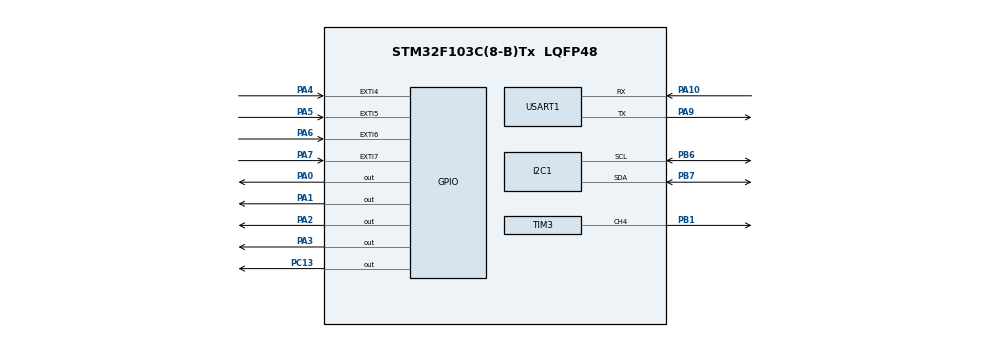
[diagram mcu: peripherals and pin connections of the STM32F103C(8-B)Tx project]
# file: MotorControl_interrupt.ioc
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Mcu.Family=STM32F1
Mcu.Name=STM32F103C(8-B)Tx
Mcu.Package=LQFP48
NVIC.EXTI4_IRQn=true\:0\:0\:false\:false\:true\:true\:true\:true
NVIC.EXTI9_5_IRQn=true\:0\:0\:false\:false\:true\:true\:true\:true
NVIC.PriorityGroup=NVIC_PRIORITYGROUP_4
NVIC.TIM4_IRQn=true\:15\:0\:false\:false\:true\:false\:true\:true
NVIC.TimeBase=TIM4_IRQn
NVIC.TimeBaseIP=TIM4
PA0-WKUP.Signal=GPIO_Output
PA1.Signal=GPIO_Output
PA10.Mode=Asynchronous
PA10.Signal=USART1_RX
PA2.Signal=GPIO_Output
PA3.Signal=GPIO_Output
PA4.GPIO_ModeDefaultEXTI=GPIO_MODE_IT_FALLING
PA4.GPIO_PuPd=GPIO_PULLUP
PA4.Signal=GPXTI4
PA5.GPIO_ModeDefaultEXTI=GPIO_MODE_IT_FALLING
PA5.GPIO_PuPd=GPIO_PULLUP
PA5.Signal=GPXTI5
PA6.GPIO_ModeDefaultEXTI=GPIO_MODE_IT_FALLING
PA6.GPIO_PuPd=GPIO_PULLUP
PA6.Signal=GPXTI6
PA7.GPIO_ModeDefaultEXTI=GPIO_MODE_IT_FALLING
PA7.GPIO_PuPd=GPIO_PULLUP
PA7.Signal=GPXTI7
PA9.Mode=Asynchronous
PA9.Signal=USART1_TX
PB1.Signal=S_TIM3_CH4
PB6.Mode=I2C
PB6.Signal=I2C1_SCL
PB7.Mode=I2C
PB7.Signal=I2C1_SDA
PC13-TAMPER-RTC.Signal=GPIO_Output
ProjectManager.HeapSize=0x200
ProjectManager.StackSize=0x400
ProjectManager.TargetToolchain=STM32CubeIDE
RCC.APB1Freq_Value=8000000
RCC.APB2Freq_Value=8000000
SH.S_TIM3_CH4.0=TIM3_CH4,PWM Generation4 CH4
TIM3.Channel-PWM\ Generation4\ CH4=TIM_CHANNEL_4
TIM3.Period=100-1
TIM3.Prescaler=8-1
USART1.VirtualMode=VM_ASYNC
VP_SYS_VS_ND.Mode=No_Debug
VP_SYS_VS_tim4.Mode=TIM4
VP_TIM3_VS_ClockSourceINT.Mode=Internal
board=custom

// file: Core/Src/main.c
/* USER CODE BEGIN Header */
/**
  ******************************************************************************
  * @file           : main.c
  * @brief          : Main program body
  ******************************************************************************
  * @attention
  *
  * Copyright (c) 2025 STMicroelectronics.
  * All rights reserved.
  *
  * This software is licensed under terms that can be found in the LICENSE file
  * in the root directory of this software component.
  * If no LICENSE file comes with this software, it is provided AS-IS.
  *
  ******************************************************************************
  */
/* USER CODE END Header */
#include "main.h"

/* USER CODE BEGIN Includes */
#include "keypad.h"
#include "lcd.h"
/* USER CODE END Includes */

/* USER CODE BEGIN PTD */
uint8_t data;
int digit=0;
uint8_t speed[3]={'0','0','0'}; // for standard project use queue data structure
int percentage =0;
/* USER CODE END PTD */

I2C_HandleTypeDef hi2c1;

TIM_HandleTypeDef htim3;

UART_HandleTypeDef huart1;

void SystemClock_Config(void);
static void MX_GPIO_Init(void);
static void MX_USART1_UART_Init(void);
static void MX_I2C1_Init(void);
static void MX_TIM3_Init(void);

int main(void)
{

  /* MCU Configuration--------------------------------------------------------*/

  /* Reset of all peripherals, Initializes the Flash interface and the Systick. */
  HAL_Init();

  /* Configure the system clock */
  SystemClock_Config();

  /* Initialize all configured peripherals */
  MX_GPIO_Init();
  MX_USART1_UART_Init();
  MX_I2C1_Init();
  MX_TIM3_Init();

  /* Infinite loop */
  /* USER CODE BEGIN WHILE */
  HAL_GPIO_WritePin(GPIOC, GPIO_PIN_13, 1);

  HAL_TIM_PWM_Start(&htim3, TIM_CHANNEL_4);
  TIM3->CCR4=0;
  lcd_init();
  lcd_write_data4bitmode('0');
  lcd_write_data4bitmode('0');
  lcd_write_data4bitmode('0');
  lcd_write_command4bitmode(0x80);
  while (1)
  {
    /* USER CODE END WHILE */

  }
}

void SystemClock_Config(void)
{
  RCC_OscInitTypeDef RCC_OscInitStruct = {0};
  RCC_ClkInitTypeDef RCC_ClkInitStruct = {0};

  /** Initializes the RCC Oscillators according to the specified parameters
  * in the RCC_OscInitTypeDef structure.
  */
  RCC_OscInitStruct.OscillatorType = RCC_OSCILLATORTYPE_HSI;
  RCC_OscInitStruct.HSIState = RCC_HSI_ON;
  RCC_OscInitStruct.HSICalibrationValue = RCC_HSICALIBRATION_DEFAULT;
  RCC_OscInitStruct.PLL.PLLState = RCC_PLL_NONE;
  if (HAL_RCC_OscConfig(&RCC_OscInitStruct) != HAL_OK)
  {
    Error_Handler();
  }

  /** Initializes the CPU, AHB and APB buses clocks
  */
  RCC_ClkInitStruct.ClockType = RCC_CLOCKTYPE_HCLK|RCC_CLOCKTYPE_SYSCLK
                              |RCC_CLOCKTYPE_PCLK1|RCC_CLOCKTYPE_PCLK2;
  RCC_ClkInitStruct.SYSCLKSource = RCC_SYSCLKSOURCE_HSI;
  RCC_ClkInitStruct.AHBCLKDivider = RCC_SYSCLK_DIV1;
  RCC_ClkInitStruct.APB1CLKDivider = RCC_HCLK_DIV1;
  RCC_ClkInitStruct.APB2CLKDivider = RCC_HCLK_DIV1;

  if (HAL_RCC_ClockConfig(&RCC_ClkInitStruct, FLASH_LATENCY_0) != HAL_OK)
  {
    Error_Handler();
  }
}

static void MX_I2C1_Init(void)
{

  hi2c1.Instance = I2C1;
  hi2c1.Init.ClockSpeed = 100000;
  hi2c1.Init.DutyCycle = I2C_DUTYCYCLE_2;
  hi2c1.Init.OwnAddress1 = 0;
  hi2c1.Init.AddressingMode = I2C_ADDRESSINGMODE_7BIT;
  hi2c1.Init.DualAddressMode = I2C_DUALADDRESS_DISABLE;
  hi2c1.Init.OwnAddress2 = 0;
  hi2c1.Init.GeneralCallMode = I2C_GENERALCALL_DISABLE;
  hi2c1.Init.NoStretchMode = I2C_NOSTRETCH_DISABLE;
  if (HAL_I2C_Init(&hi2c1) != HAL_OK)
  {
    Error_Handler();
  }

}

static void MX_TIM3_Init(void)
{

  TIM_ClockConfigTypeDef sClockSourceConfig = {0};
  TIM_MasterConfigTypeDef sMasterConfig = {0};
  TIM_OC_InitTypeDef sConfigOC = {0};

  htim3.Instance = TIM3;
  htim3.Init.Prescaler = 8-1;
  htim3.Init.CounterMode = TIM_COUNTERMODE_UP;
  htim3.Init.Period = 100-1;
  htim3.Init.ClockDivision = TIM_CLOCKDIVISION_DIV1;
  htim3.Init.AutoReloadPreload = TIM_AUTORELOAD_PRELOAD_DISABLE;
  if (HAL_TIM_Base_Init(&htim3) != HAL_OK)
  {
    Error_Handler();
  }
  sClockSourceConfig.ClockSource = TIM_CLOCKSOURCE_INTERNAL;
  if (HAL_TIM_ConfigClockSource(&htim3, &sClockSourceConfig) != HAL_OK)
  {
    Error_Handler();
  }
  if (HAL_TIM_PWM_Init(&htim3) != HAL_OK)
  {
    Error_Handler();
  }
  sMasterConfig.MasterOutputTrigger = TIM_TRGO_RESET;
  sMasterConfig.MasterSlaveMode = TIM_MASTERSLAVEMODE_DISABLE;
  if (HAL_TIMEx_MasterConfigSynchronization(&htim3, &sMasterConfig) != HAL_OK)
  {
    Error_Handler();
  }
  sConfigOC.OCMode = TIM_OCMODE_PWM1;
  sConfigOC.Pulse = 0;
  sConfigOC.OCPolarity = TIM_OCPOLARITY_HIGH;
  sConfigOC.OCFastMode = TIM_OCFAST_DISABLE;
  if (HAL_TIM_PWM_ConfigChannel(&htim3, &sConfigOC, TIM_CHANNEL_4) != HAL_OK)
  {
    Error_Handler();
  }
  HAL_TIM_MspPostInit(&htim3);

}

static void MX_USART1_UART_Init(void)
{

  huart1.Instance = USART1;
  huart1.Init.BaudRate = 115200;
  huart1.Init.WordLength = UART_WORDLENGTH_8B;
  huart1.Init.StopBits = UART_STOPBITS_1;
  huart1.Init.Parity = UART_PARITY_NONE;
  huart1.Init.Mode = UART_MODE_TX_RX;
  huart1.Init.HwFlowCtl = UART_HWCONTROL_NONE;
  huart1.Init.OverSampling = UART_OVERSAMPLING_16;
  if (HAL_UART_Init(&huart1) != HAL_OK)
  {
    Error_Handler();
  }

}

static void MX_GPIO_Init(void)
{
  GPIO_InitTypeDef GPIO_InitStruct = {0};

  /* GPIO Ports Clock Enable */
  __HAL_RCC_GPIOC_CLK_ENABLE();
  __HAL_RCC_GPIOA_CLK_ENABLE();
  __HAL_RCC_GPIOB_CLK_ENABLE();

  /*Configure GPIO pin Output Level */
  HAL_GPIO_WritePin(GPIOC, GPIO_PIN_13, GPIO_PIN_RESET);

  /*Configure GPIO pin Output Level */
  HAL_GPIO_WritePin(GPIOA, GPIO_PIN_0|GPIO_PIN_1|GPIO_PIN_2|GPIO_PIN_3, GPIO_PIN_RESET);

  /*Configure GPIO pin : PC13 */
  GPIO_InitStruct.Pin = GPIO_PIN_13;
  GPIO_InitStruct.Mode = GPIO_MODE_OUTPUT_PP;
  GPIO_InitStruct.Pull = GPIO_NOPULL;
  GPIO_InitStruct.Speed = GPIO_SPEED_FREQ_LOW;
  HAL_GPIO_Init(GPIOC, &GPIO_InitStruct);

  /*Configure GPIO pins : PA0 PA1 PA2 PA3 */
  GPIO_InitStruct.Pin = GPIO_PIN_0|GPIO_PIN_1|GPIO_PIN_2|GPIO_PIN_3;
  GPIO_InitStruct.Mode = GPIO_MODE_OUTPUT_PP;
  GPIO_InitStruct.Pull = GPIO_NOPULL;
  GPIO_InitStruct.Speed = GPIO_SPEED_FREQ_LOW;
  HAL_GPIO_Init(GPIOA, &GPIO_InitStruct);

  /*Configure GPIO pins : PA4 PA5 PA6 PA7 */
  GPIO_InitStruct.Pin = GPIO_PIN_4|GPIO_PIN_5|GPIO_PIN_6|GPIO_PIN_7;
  GPIO_InitStruct.Mode = GPIO_MODE_IT_FALLING;
  GPIO_InitStruct.Pull = GPIO_PULLUP;
  HAL_GPIO_Init(GPIOA, &GPIO_InitStruct);

  /* EXTI interrupt init*/
  HAL_NVIC_SetPriority(EXTI4_IRQn, 0, 0);
  HAL_NVIC_EnableIRQ(EXTI4_IRQn);

  HAL_NVIC_SetPriority(EXTI9_5_IRQn, 0, 0);
  HAL_NVIC_EnableIRQ(EXTI9_5_IRQn);

}

/* USER CODE BEGIN 4 */
void HAL_GPIO_EXTI_Callback(uint16_t GPIO_Pin)
{

	  HAL_NVIC_DisableIRQ(EXTI4_IRQn);
	  HAL_NVIC_DisableIRQ(EXTI9_5_IRQn);

//	  if(button_pressed()==1)
//	  {
		  HAL_GPIO_WritePin(GPIOC, GPIO_PIN_13, 0);
		 // HAL_GPIO_TogglePin(GPIOC, GPIO_PIN_13);
		  data= whichkey();
		 // __HAL_GPIO_EXTI_CLEAR_IT(GPIO_Pin);
		  HAL_NVIC_EnableIRQ(EXTI4_IRQn);
		  HAL_NVIC_EnableIRQ(EXTI9_5_IRQn);

//		  HAL_UART_Transmit(&huart1, &data, 1, 1000);
//		  HAL_UART_Transmit(&huart1, "\n\r", 2, 1000);
		  switch (data){
			case '*':
				if(digit>0){//1,2
					if(digit ==1){
						lcd_write_command4bitmode(0x80);
					}
					else if(digit ==2){
						lcd_write_command4bitmode(0x81);
					}
					digit--;
				}
				break;
			case '#':
				if(digit<2){//0,1
					if(digit ==1){
						lcd_write_command4bitmode(0x82);
					}
					else if(digit ==0){
						lcd_write_command4bitmode(0x81);
					}
					digit++;
				}
				break;
			case 'D':
				percentage = (speed[0]-0x30)*100 + (speed[1]-0x30)*10 + (speed[2]-0x30) ;
				if(percentage> 100){
					speed[0]='1';speed[1]='0';speed[2]='0';
					percentage = 100 ;
					lcd_write_command4bitmode(0x80);
					lcd_write_data4bitmode('1');
					lcd_write_data4bitmode('0');
					lcd_write_data4bitmode('0');
					lcd_write_command4bitmode(0x80);
				}
					TIM3->CCR4=percentage;
				 HAL_UART_Transmit(&huart1, speed, 3, 1000);
				 HAL_UART_Transmit(&huart1, "\n\r", 2, 1000);
				break;
			default:
				if(data>='0'&&data<='9'){
					speed[digit] = data ;
					//HAL_UART_Transmit(&huart1,&speed[digit] , 1, 1000);
					lcd_write_data4bitmode(speed[digit]);
					lcd_write_command4bitmode(0x80|digit);

				//task notify two array -> digit,
				break;
			}
		  }
//	  }//button press

}
/* USER CODE END 4 */

void HAL_TIM_PeriodElapsedCallback(TIM_HandleTypeDef *htim)
{
  if (htim->Instance == TIM4)
  {
    HAL_IncTick();
  }
}

void Error_Handler(void)
{
  __disable_irq();
  while (1)
  {
  }
}
